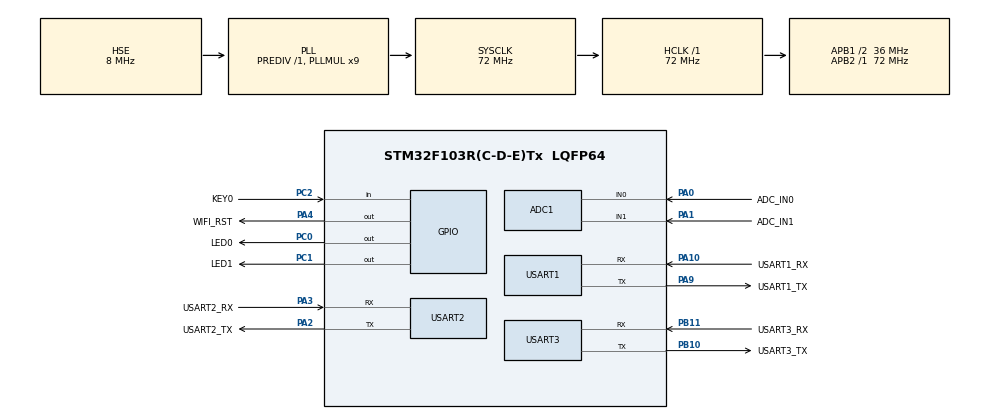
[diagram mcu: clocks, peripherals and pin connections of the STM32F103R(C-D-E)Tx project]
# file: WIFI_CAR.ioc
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ADC1.Channel-0\#ChannelRegularConversion=ADC_CHANNEL_0
ADC1.NbrOfConversionFlag=1
ADC1.Rank-0\#ChannelRegularConversion=1
ADC1.SamplingTime-0\#ChannelRegularConversion=ADC_SAMPLETIME_1CYCLE_5
ADC1.master=1
Mcu.Family=STM32F1
Mcu.Name=STM32F103R(C-D-E)Tx
Mcu.Package=LQFP64
NVIC.PriorityGroup=NVIC_PRIORITYGROUP_4
NVIC.USART1_IRQn=true\:0\:0\:false\:false\:true\:true\:true
NVIC.USART2_IRQn=true\:0\:0\:false\:false\:true\:true\:true
NVIC.USART3_IRQn=true\:0\:0\:false\:false\:true\:true\:true
PA0-WKUP.GPIO_Label=ADC_IN0
PA0-WKUP.Signal=ADCx_IN0
PA1.GPIO_Label=ADC_IN1
PA1.Signal=ADCx_IN1
PA10.GPIO_Label=USART1_RX
PA10.Mode=Asynchronous
PA10.Signal=USART1_RX
PA13.Mode=Serial_Wire
PA13.Signal=SYS_JTMS-SWDIO
PA14.Mode=Serial_Wire
PA14.Signal=SYS_JTCK-SWCLK
PA2.GPIO_Label=USART2_TX
PA2.Mode=Asynchronous
PA2.Signal=USART2_TX
PA3.GPIO_Label=USART2_RX
PA3.Mode=Asynchronous
PA3.Signal=USART2_RX
PA4.GPIO_Label=WIFI_RST
PA4.GPIO_PuPd=GPIO_PULLDOWN
PA4.GPIO_Speed=GPIO_SPEED_FREQ_HIGH
PA4.PinState=GPIO_PIN_RESET
PA4.Signal=GPIO_Output
PA9.GPIO_Label=USART1_TX
PA9.Mode=Asynchronous
PA9.Signal=USART1_TX
PB10.GPIO_Label=USART3_TX
PB10.Mode=Asynchronous
PB10.Signal=USART3_TX
PB11.GPIO_Label=USART3_RX
PB11.Mode=Asynchronous
PB11.Signal=USART3_RX
PC0.GPIO_Label=LED0
PC0.GPIO_PuPd=GPIO_PULLDOWN
PC0.GPIO_Speed=GPIO_SPEED_FREQ_HIGH
PC0.Signal=GPIO_Output
PC1.GPIO_Label=LED1
PC1.GPIO_PuPd=GPIO_PULLDOWN
PC1.GPIO_Speed=GPIO_SPEED_FREQ_HIGH
PC1.Signal=GPIO_Output
PC2.GPIO_Label=KEY0
PC2.Signal=GPIO_Input
PD0-OSC_IN.Mode=HSE-External-Oscillator
PD0-OSC_IN.Signal=RCC_OSC_IN
PD1-OSC_OUT.Mode=HSE-External-Oscillator
PD1-OSC_OUT.Signal=RCC_OSC_OUT
ProjectManager.HeapSize=0x200
ProjectManager.StackSize=0x400
ProjectManager.TargetToolchain=MDK-ARM V5.27
RCC.ADCPresc=RCC_ADCPCLK2_DIV6
RCC.AHBFreq_Value=72000000
RCC.APB1CLKDivider=RCC_HCLK_DIV2
RCC.APB1Freq_Value=36000000
RCC.APB1TimFreq_Value=72000000
RCC.APB2Freq_Value=72000000
RCC.APB2TimFreq_Value=72000000
RCC.HCLKFreq_Value=72000000
RCC.PLLMUL=RCC_PLL_MUL9
RCC.PLLSourceVirtual=RCC_PLLSOURCE_HSE
RCC.SYSCLKFreq_VALUE=72000000
RCC.SYSCLKSource=RCC_SYSCLKSOURCE_PLLCLK
RCC.USBFreq_Value=72000000
SH.ADCx_IN0.0=ADC1_IN0,IN0
SH.ADCx_IN1.0=ADC1_IN1,IN1
USART1.VirtualMode=VM_ASYNC
USART2.VirtualMode=VM_ASYNC
USART3.VirtualMode=VM_ASYNC
board=custom

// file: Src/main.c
/* USER CODE BEGIN Header */
/**
  ******************************************************************************
  * @file           : main.c
  * @brief          : Main program body
  ******************************************************************************
  * @attention
  *
  * <h2><center>&copy; Copyright (c) 2024 STMicroelectronics.
  * All rights reserved.</center></h2>
  *
  * This software component is licensed by ST under BSD 3-Clause license,
  * the "License"; You may not use this file except in compliance with the
  * License. You may obtain a copy of the License at:
  *                        opensource.org/licenses/BSD-3-Clause
  *
  ******************************************************************************
  */
/* USER CODE END Header */

#include "main.h"
#include "adc.h"
#include "usart.h"
#include "gpio.h"

/* USER CODE BEGIN Includes */
#include "usart1.h"
#include "usart2.h"
#include "usart3.h"
#include "string.h"
#include "atk_mw8266d.h"
#include "state_reg.h"
/* USER CODE END Includes */

/* USER CODE BEGIN PD */
#define _DELAY_1000MS_   ((DELAY_NUM%1000)==0)
#define _DELAY_2500MS_   ((DELAY_NUM%2500)==0)
#define _DELAY_5000MS_   ((DELAY_NUM%5000)==0)
uint32_t DELAY_NUM=0;
uint32_t CNT=0;
/* USER CODE END PD */

void SystemClock_Config(void);
/* USER CODE BEGIN PFP */
void START_DELAY(void);
/* USER CODE END PFP */

int main(void)
{
  /* USER CODE BEGIN 1 */
  // 用户代码开始，可以添加自定义的初始化代码
  /* USER CODE END 1 */

  /* MCU Configuration--------------------------------------------------------*/
  // MCU 配置

  /* Reset of all peripherals, Initializes the Flash interface and the Systick. */
  // 重置所有外设，初始化 Flash 接口和 SysTick
  HAL_Init();

  /* USER CODE BEGIN Init */
  // 用户代码开始，可以添加自定义的初始化代码
  /* USER CODE END Init */

  /* Configure the system clock */
  // 配置系统时钟
  SystemClock_Config();

  /* USER CODE BEGIN SysInit */
  // 用户代码开始，可以添加自定义的系统初始化代码
  /* USER CODE END SysInit */

  /* Initialize all configured peripherals */
  // 初始化所有配置的外设
  MX_GPIO_Init();
  MX_ADC1_Init();
  MX_USART1_UART_Init();
  MX_USART2_UART_Init();
  MX_USART3_UART_Init();

  /* USER CODE BEGIN 2 */
  // 用户代码开始，可以添加自定义的代码
  usart1.initialize(115200);
  usart2.initialize(115200);
  usart3.initialize(115200);

  // 自定义代码块1
  ///////////////////////////////////////////////////////
  usart1.printf("usart1 is Running!\r\n");
  HAL_Delay(2000);
  //usart2.printf("usart2 is Running!\r\n");
  HAL_GPIO_WritePin (LED0_GPIO_Port, LED0_Pin, GPIO_PIN_SET);
  HAL_GPIO_WritePin (LED1_GPIO_Port, LED1_Pin, GPIO_PIN_SET);
  atk_mw8266d_init();

  // 自定义代码块2
  ///////////////////////////////////////////////////////
  /* USER CODE END 2 */

  /* Infinite loop */
  // 无限循环
  /* USER CODE BEGIN WHILE */
  while (1)
  {
    START_DELAY();
    UART2_COMMAND_PROCESSING();
    if(_DELAY_1000MS_)
    {
      //HAL_GPIO_TogglePin(LED0_GPIO_Port, LED0_Pin);
      HAL_GPIO_TogglePin(LED1_GPIO_Port, LED1_Pin);
      do_query_state();
      GetVolt();
    }
    /* USER CODE END WHILE */

    /* USER CODE BEGIN 3 */
    // 用户代码开始，可以添加自定义的代码
    //HAL_GPIO_TogglePin(LED1_GPIO_Port, LED1_Pin);
  }
  /* USER CODE END 3 */
}

void SystemClock_Config(void)
{
  RCC_OscInitTypeDef RCC_OscInitStruct = {0};
  RCC_ClkInitTypeDef RCC_ClkInitStruct = {0};
  RCC_PeriphCLKInitTypeDef PeriphClkInit = {0};

  /** 初始化CPU、AHB和APB总线时钟 */
  RCC_OscInitStruct.OscillatorType = RCC_OSCILLATORTYPE_HSE;
  RCC_OscInitStruct.HSEState = RCC_HSE_ON;
  RCC_OscInitStruct.HSEPredivValue = RCC_HSE_PREDIV_DIV1;
  RCC_OscInitStruct.HSIState = RCC_HSI_ON;
  RCC_OscInitStruct.PLL.PLLState = RCC_PLL_ON;
  RCC_OscInitStruct.PLL.PLLSource = RCC_PLLSOURCE_HSE;
  RCC_OscInitStruct.PLL.PLLMUL = RCC_PLL_MUL9;
  if (HAL_RCC_OscConfig(&RCC_OscInitStruct) != HAL_OK)
  {
    Error_Handler();
  }
  /** 初始化CPU、AHB和APB总线时钟 */
  RCC_ClkInitStruct.ClockType = RCC_CLOCKTYPE_HCLK|RCC_CLOCKTYPE_SYSCLK
                              |RCC_CLOCKTYPE_PCLK1|RCC_CLOCKTYPE_PCLK2;
  RCC_ClkInitStruct.SYSCLKSource = RCC_SYSCLKSOURCE_PLLCLK;
  RCC_ClkInitStruct.AHBCLKDivider = RCC_SYSCLK_DIV1;
  RCC_ClkInitStruct.APB1CLKDivider = RCC_HCLK_DIV2;
  RCC_ClkInitStruct.APB2CLKDivider = RCC_HCLK_DIV1;

  if (HAL_RCC_ClockConfig(&RCC_ClkInitStruct, FLASH_LATENCY_2) != HAL_OK)
  {
    Error_Handler();
  }
  PeriphClkInit.PeriphClockSelection = RCC_PERIPHCLK_ADC;
  PeriphClkInit.AdcClockSelection = RCC_ADCPCLK2_DIV6;
  if (HAL_RCCEx_PeriphCLKConfig(&PeriphClkInit) != HAL_OK)
  {
    Error_Handler();
  }
}

/* USER CODE BEGIN 4 */
void START_DELAY(void)
{
    // 调用HAL_Delay函数进行延时，参数为0表示不进行实际延时
	HAL_Delay(0);
	// 将DELAY_NUM的值加1
	DELAY_NUM = DELAY_NUM + 1;
}
/* USER CODE END 4 */

void Error_Handler(void)
{
  /* USER CODE BEGIN Error_Handler_Debug */
  // 用户可以在此添加自己的实现，以报告HAL错误返回状态
  /* User can add his own implementation to report the HAL error return state */

  /* USER CODE END Error_Handler_Debug */
}

#ifdef  USE_FULL_ASSERT
/**
  * @brief  Reports the name of the source file and the source line number
  *         where the assert_param error has occurred.
  * @param  file: pointer to the source file name
  * @param  line: assert_param error line source number
  * @retval None
  */
void assert_failed(uint8_t *file, uint32_t line)
{
  /* USER CODE BEGIN 6 */
  // 用户可以添加自己的实现来报告文件名和行号
  /* User can add his own implementation to report the file name and line number,
     tex: printf("Wrong parameters value: file %s on line %d\r\n", file, line) */
  /* USER CODE END 6 */
}
#endif /* USE_FULL_ASSERT */

/************************ (C) COPYRIGHT STMicroelectronics *****END OF FILE****/
